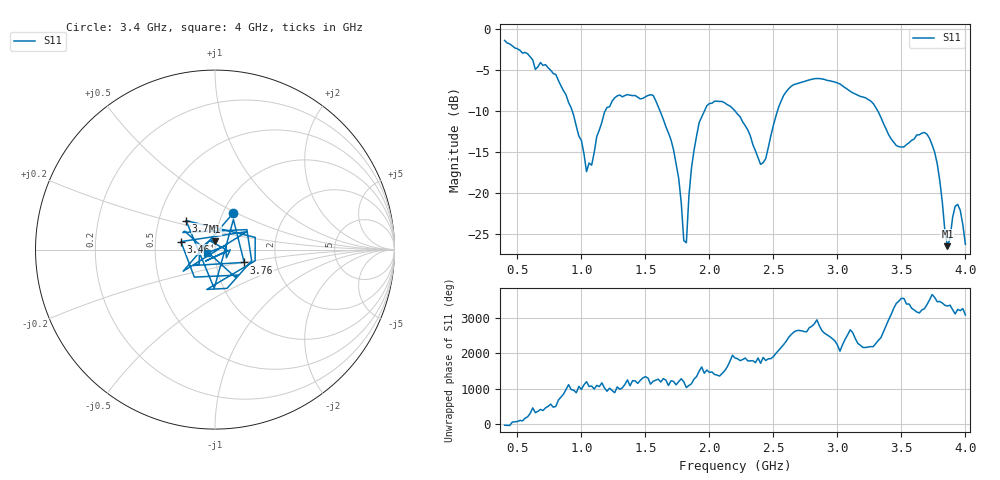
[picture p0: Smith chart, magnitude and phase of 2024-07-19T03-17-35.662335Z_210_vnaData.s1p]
!Created with skrf (http://scikit-rf.org).
# Hz S RI R 50.0
!freq ReS11 ImS11
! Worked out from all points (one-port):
!   181 points, 400 MHz to 4 GHz, reference 50 ohm
!   lowest |S11| = -26.5 dB at 3.86 GHz (marker M1), VSWR 1.10, Z = 49.6 + j4.69 ohm
!   |S11| at or under -10 dB: 1.615 GHz to 1.96 GHz (345.4 MHz wide, 19.3 % of centre); 2.201 GHz to 2.531 GHz (329.9 MHz wide, 13.9 % of centre); 3.316 GHz to end of sweep (the widest 3 of 4)
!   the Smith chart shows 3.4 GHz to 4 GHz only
!   S11 on the Smith chart (normalised r, x): 3.4 GHz: 1.12, +0.48; 3.46 GHz: 0.68, +0.06; 3.7 GHz: 0.69, +0.24; 3.76 GHz: 1.37, -0.20; 4 GHz: 0.91, -0.03
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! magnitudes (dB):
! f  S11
! 400 MHz  -1.4
! 860 MHz  -7.5
! 1 GHz  -13.6
! 1.04 GHz  -17.4
! 1.18 GHz  -10.1
! 1.3 GHz  -8.0
! 1.56 GHz  -8.1
! 1.7 GHz  -13.5
! 1.76 GHz  -18.2
! 1.8 GHz  -25.8
! 1.82 GHz  -26.1
! 1.86 GHz  -17.0
! 1.92 GHz  -11.4
! 2.04 GHz  -8.8
! 2.2 GHz  -10.0
! 2.4 GHz  -16.5
! 2.56 GHz  -8.8
! 2.66 GHz  -6.8
! 3.1 GHz  -7.6
! 3.28 GHz  -9.1
! 3.4 GHz  -12.9
! 3.46 GHz  -14.2
! 3.56 GHz  -13.9
! 3.7 GHz  -12.8
! 3.76 GHz  -15.0
! 3.86 GHz  -26.5
! 3.94 GHz  -21.4
! 4 GHz  -26.3
